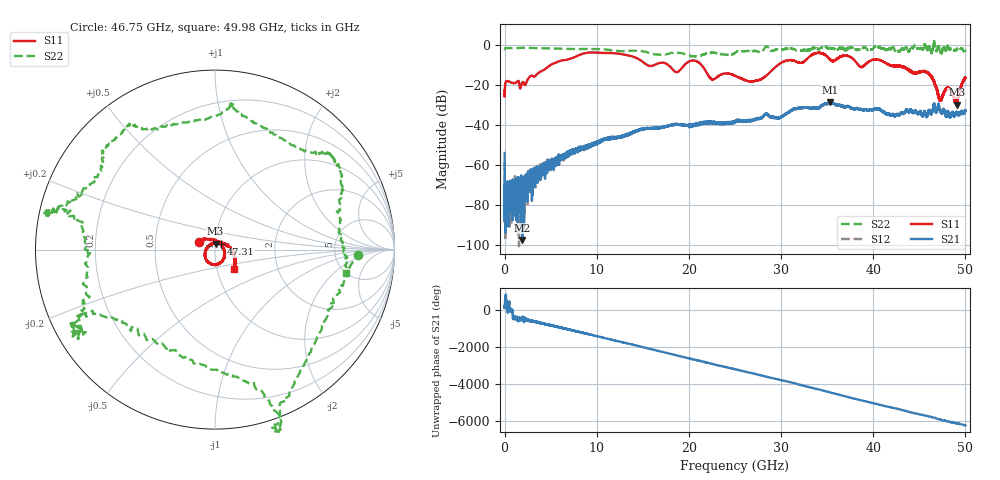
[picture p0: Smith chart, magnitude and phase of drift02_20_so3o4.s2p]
!Created with skrf (http://scikit-rf.org).
# Hz S RI R 50.0
!freq ReS11 ImS11 ReS21 ImS21 ReS12 ImS12 ReS22 ImS22
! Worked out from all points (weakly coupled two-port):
!   10001 points, 300 kHz to 50 GHz, reference 50 ohm
!   highest |S21| = -28.50 dB at 35.35 GHz (marker M1); lowest = -97.3 dB at 1.94 GHz (marker M2)
!   lowest |S11| = -29.7 dB at 49.06 GHz (marker M3), VSWR 1.07, Z = 50.2 + j3.26 ohm
!   |S11| at or under -10 dB: start of sweep to 4.957 GHz; 21.38 GHz to 29.63 GHz (8.253 GHz wide, 32.4 % of centre); 41.84 GHz to end of sweep (the widest 3 of 10)
!   |S22| runs from -5.7 to 2.4 dB; largest |S21 - S12| = 0.0033
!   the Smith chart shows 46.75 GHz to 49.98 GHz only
!   S11 on the Smith chart (normalised r, x): 46.75 GHz: 0.83, +0.08; 47.31 GHz: 1.07, +0.06; 49.98 GHz: 1.21, -0.27
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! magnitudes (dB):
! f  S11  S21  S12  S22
! 300 kHz  -22.6  -53.9  -58.6  -2.0
! 255.3 MHz  -17.9  -86.3  -82.2  -1.4
! 1.94 GHz  -18.5  -97.3  -66.1  -1.3
! 3.625 GHz  -14.1  -62.9  -63.1  -1.5
! 8.335 GHz  -4.5  -52.2  -51.7  -1.9
! 16.67 GHz  -9.1  -41.4  -41.6  -4.7
! 18.7 GHz  -13.5  -39.4  -39.5  -3.7
! 20.6 GHz  -7.7  -40.4  -39.9  -5.7
! 22.51 GHz  -17.2  -38.7  -38.4  -3.7
! 25 GHz  -15.3  -38.3  -38.4  -3.9
! 27.5 GHz  -17.6  -36.7  -36.4  -3.2
! 30.22 GHz  -8.3  -35.4  -35.4  -2.1
! 33.34 GHz  -4.8  -31.3  -31.2  -1.5
! 35.35 GHz  -7.3  -28.5  -28.8  -1.5
! 41.67 GHz  -9.7  -34.1  -34.3  -1.8
! 45.77 GHz  -13.4  -35.7  -35.7  -1.7
! 46.75 GHz  -20.0  -32.6  -32.6  -2.0
! 47.31 GHz  -27.1  -33.6  -33.3  -3.6
! 48.14 GHz  -21.5  -33.5  -33.3  -0.8
! 49.06 GHz  -29.7  -34.3  -34.0  -1.9
! 49.98 GHz  -16.3  -32.6  -32.8  -2.6
! 50 GHz  -16.2  -32.5  -32.7  -2.6
